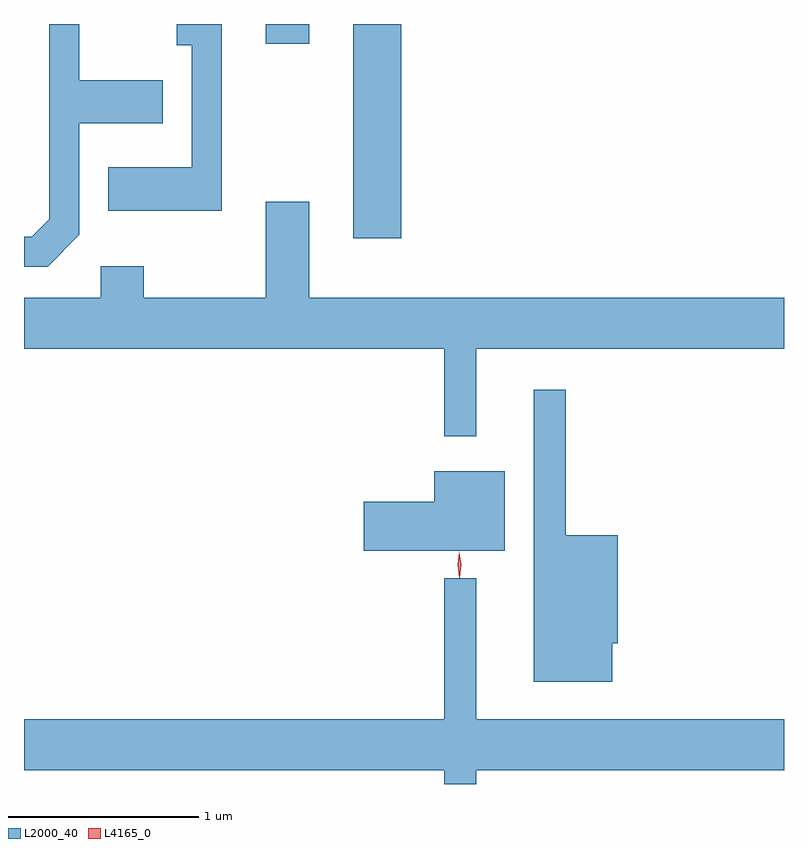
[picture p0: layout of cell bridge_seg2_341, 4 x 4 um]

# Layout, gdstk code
import gdstk
lib = gdstk.Library(unit=1e-6, precision=1e-09)
def R(c, l, rs):  # rectangles x0, y0, x1, y1
    for r in rs: c.add(gdstk.rectangle(r[:2], r[2:], *l))
def P(c, l, *ps):  # polygons
    for p in ps: c.add(gdstk.Polygon(p, *l))
L2000_40 = (2000, 40)
L4165_0 = (4165, 0)

bridge_seg2_341 = lib.new_cell('bridge_seg2_341')
R(bridge_seg2_341, L2000_40, [(311.811,1011.156,312.064,1012.284), (311.351,1012.181,311.579,1012.284)])
P(bridge_seg2_341, L2000_40, [(310.369,1011.174),(310.369,1011.761),(310.809,1011.761),(310.809,1011.989),(310.369,1011.989),(310.369,1012.284),(310.211,1012.284),(310.211,1011.257),(310.119,1011.164),(310.078,1011.164),(310.078,1011.006),(310.202,1011.006)],
  [(311.119,1012.284),(310.883,1012.284),(310.883,1012.171),(310.961,1012.171),(310.961,1011.529),(310.521,1011.529),(310.521,1011.301),(311.119,1011.301)],
  [(312.459,1010.576),(314.078,1010.576),(314.078,1010.844),(311.579,1010.844),(311.579,1011.349),(311.351,1011.349),(311.351,1010.844),(310.709,1010.844),(310.709,1011.009),(310.481,1011.009),(310.481,1010.844),(310.078,1010.844),(310.078,1010.576),(312.291,1010.576),(312.291,1010.113),(312.459,1010.113)],
  [(313.174,1009.026),(313.204,1009.026),(313.204,1009.594),(312.929,1009.594),(312.929,1010.358),(312.761,1010.358),(312.761,1008.821),(313.174,1008.821)],
  [(312.609,1009.929),(312.236,1009.929),(312.236,1009.769),(311.866,1009.769),(311.866,1009.511),(312.609,1009.511)],
  [(312.459,1008.356),(314.078,1008.356),(314.078,1008.624),(312.459,1008.624),(312.459,1009.368),(312.291,1009.368),(312.291,1008.624),(310.078,1008.624),(310.078,1008.356),(312.291,1008.356),(312.291,1008.284),(312.459,1008.284)])
P(bridge_seg2_341, L4165_0, [(312.37,1009.37),(312.37,1009.37),(312.36,1009.438),(312.369,1009.505),(312.37,1009.506),(312.37,1009.505),(312.38,1009.438),(312.371,1009.37)],
  [(312.37,1009.373),(312.37,1009.373),(312.36,1009.436),(312.369,1009.499),(312.369,1009.5),(312.37,1009.499),(312.38,1009.436),(312.371,1009.373)])

lib.write_gds('bridge_seg2_341.gds')
